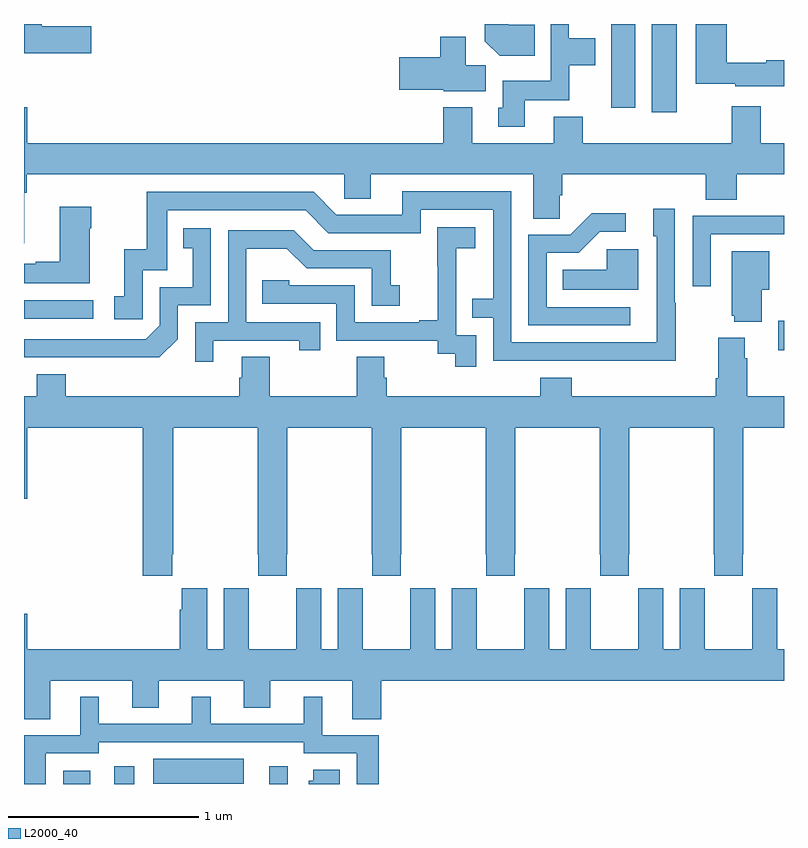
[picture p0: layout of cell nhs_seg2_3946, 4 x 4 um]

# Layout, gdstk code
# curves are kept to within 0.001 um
import gdstk
lib = gdstk.Library(unit=1e-6, precision=1e-09)
def R(c, l, rs):  # rectangles x0, y0, x1, y1
    for r in rs: c.add(gdstk.rectangle(r[:2], r[2:], *l))
def P(c, l, *ps):  # polygons
    for p in ps: c.add(gdstk.Polygon(p, *l))
L2000_40 = (2000, 40)

nhs_seg2_3946 = lib.new_cell('nhs_seg2_3946')
R(nhs_seg2_3946, L2000_40, [(321.206,605.8,321.349,605.869), (321.476,605.8,321.58,605.893), (322.292,605.8,322.389,605.893), (321.681,605.801,322.156,605.932), (324.971,608.082,325,608.238), (321,608.25,321.364,608.346), (324.305,609.336,324.436,609.8), (324.092,609.36,324.217,609.8)])
P(nhs_seg2_3946, L2000_40, [(323.635,609.398),(323.871,609.398),(323.871,609.584),(324.007,609.584),(324.007,609.724),(323.868,609.724),(323.868,609.8),(323.772,609.8),(323.772,609.502),(323.519,609.502),(323.519,609.36),(323.495,609.36),(323.495,609.258),(323.635,609.258)],
  [(321.355,609.788),(321.094,609.788),(321.094,609.8),(321,609.8),(321,609.646),(321.355,609.646)],
  [(323.687,609.796),(323.548,609.796),(323.548,609.8),(323.426,609.8),(323.426,609.71),(323.504,609.632),(323.687,609.632)],
  [(325,609.608),(324.906,609.608),(324.906,609.595),(324.698,609.595),(324.698,609.799),(324.536,609.799),(324.536,609.485),(324.744,609.485),(324.744,609.473),(325,609.473)],
  [(323.431,609.584),(323.326,609.584),(323.326,609.733),(323.192,609.733),(323.192,609.626),(322.974,609.626),(322.974,609.455),(323.208,609.455),(323.208,609.446),(323.431,609.446)],
  [(321.001,608.912),(321.014,608.912),(321.014,609.008),(322.686,609.008),(322.686,608.881),(322.825,608.881),(322.825,609.008),(323.681,609.008),(323.681,608.776),(323.82,608.776),(323.82,608.899),(323.834,608.899),(323.834,609.008),(324.587,609.008),(324.587,608.875),(324.752,608.875),(324.752,609.008),(325,609.008),(325,609.172),(324.878,609.172),(324.878,609.367),(324.725,609.367),(324.725,609.172),(323.942,609.172),(323.942,609.313),(323.789,609.313),(323.789,609.172),(323.359,609.172),(323.359,609.361),(323.207,609.361),(323.207,609.172),(321.016,609.172),(321.016,609.361),(321,609.361),(321,608.646),(321.001,608.646)],
  [(324.429,608.333),(324.426,608.333),(324.426,608.827),(324.311,608.827),(324.311,608.682),(324.33,608.682),(324.329,608.124),(323.565,608.124),(323.565,608.919),(322.991,608.919),(322.991,608.796),(322.644,608.796),(322.524,608.916),(321.645,608.916),(321.645,608.614),(321.527,608.614),(321.527,608.367),(321.474,608.367),(321.474,608.247),(321.624,608.247),(321.624,608.505),(321.753,608.505),(321.753,608.82),(322.482,608.82),(322.602,608.7),(323.088,608.7),(323.088,608.823),(323.469,608.823),(323.469,608.354),(323.359,608.354),(323.359,608.253),(323.469,608.253),(323.469,608.028),(324.429,608.027)],
  [(321.346,608.726),(321.354,608.726),(321.354,608.839),(321.188,608.839),(321.188,608.549),(321.062,608.549),(321.062,608.539),(321,608.539),(321,608.435),(321.346,608.435)],
  [(324.19,608.31),(323.751,608.31),(323.751,608.595),(323.92,608.595),(324.031,608.706),(324.166,608.706),(324.166,608.804),(323.987,608.804),(323.874,608.691),(323.655,608.691),(323.655,608.214),(324.19,608.214)],
  [(324.615,608.694),(325,608.694),(325,608.792),(324.835,608.792),(324.835,608.79),(324.519,608.79),(324.519,608.421),(324.615,608.421)],
  [(323.379,608.163),(323.274,608.163),(323.274,608.393),(323.276,608.393),(323.276,608.621),(323.374,608.621),(323.374,608.731),(323.176,608.731),(323.176,608.525),(323.177,608.525),(323.177,608.242),(323.081,608.242),(323.081,608.229),(322.74,608.229),(322.74,608.424),(322.395,608.424),(322.395,608.451),(322.255,608.451),(322.255,608.328),(322.644,608.328),(322.644,608.133),(323.178,608.133),(323.178,608.065),(323.271,608.065),(323.271,607.995),(323.379,607.995)],
  [(321.81,608.142),(321.81,608.319),(321.984,608.319),(321.984,608.725),(321.838,608.725),(321.838,608.619),(321.887,608.619),(321.887,608.415),(321.714,608.415),(321.714,608.214),(321.642,608.142),(321,608.142),(321,608.046),(321.712,608.045)],
  [(321.997,608.133),(322.448,608.133),(322.448,608.082),(322.559,608.082),(322.559,608.229),(322.17,608.229),(322.17,608.618),(322.384,608.618),(322.488,608.514),(322.83,608.514),(322.83,608.316),(322.978,608.316),(322.978,608.425),(322.929,608.425),(322.929,608.61),(322.525,608.61),(322.42,608.715),(322.074,608.715),(322.074,608.229),(321.9,608.229),(321.9,608.022),(321.997,608.022)],
  [(324.232,608.614),(324.067,608.614),(324.067,608.506),(323.836,608.506),(323.836,608.402),(324.232,608.402)],
  [(324.883,608.402),(324.922,608.402),(324.922,608.605),(324.725,608.605),(324.725,608.265),(324.737,608.265),(324.737,608.234),(324.883,608.234)],
  [(321.779,607.009),(321.786,607.009),(321.786,607.676),(322.231,607.676),(322.231,607.009),(322.233,607.009),(322.233,606.897),(322.383,606.897),(322.383,607.009),(322.386,607.009),(322.386,607.676),(322.831,607.676),(322.831,607.009),(322.833,607.009),(322.833,606.897),(322.983,606.897),(322.983,607.009),(322.986,607.009),(322.986,607.676),(323.431,607.676),(323.431,607.009),(323.433,607.009),(323.433,606.897),(323.583,606.897),(323.583,607.009),(323.586,607.009),(323.586,607.676),(324.031,607.676),(324.031,607.009),(324.033,607.009),(324.033,606.897),(324.183,606.897),(324.183,607.009),(324.186,607.009),(324.186,607.676),(324.631,607.676),(324.631,607.009),(324.633,607.009),(324.633,606.897),(324.783,606.897),(324.783,607.009),(324.786,607.009),(324.786,607.676),(325,607.676),(325,607.84),(324.806,607.84),(324.806,608.042),(324.793,608.042),(324.793,608.149),(324.653,608.149),(324.653,607.936),(324.641,607.936),(324.641,607.84),(323.882,607.84),(323.882,607.939),(323.717,607.939),(323.717,607.84),(322.91,607.84),(322.91,607.938),(322.897,607.938),(322.897,608.048),(322.75,608.048),(322.75,607.84),(322.293,607.84),(322.293,608.048),(322.145,608.048),(322.145,607.938),(322.133,607.938),(322.133,607.84),(321.221,607.84),(321.221,607.957),(321.068,607.957),(321.068,607.84),(321,607.84),(321,607.302),(321.016,607.302),(321.016,607.676),(321.626,607.676),(321.626,606.897),(321.779,606.897)],
  [(321.016,606.697),(321,606.697),(321,606.142),(321.139,606.142),(321.139,606.344),(321.569,606.344),(321.569,606.202),(321.709,606.202),(321.709,606.344),(322.157,606.344),(322.157,606.202),(322.297,606.202),(322.297,606.344),(322.727,606.344),(322.727,606.142),(322.88,606.142),(322.88,606.344),(325,606.344),(325,606.508),(324.964,606.508),(324.964,606.829),(324.834,606.829),(324.834,606.716),(324.833,606.716),(324.833,606.508),(324.583,606.508),(324.583,606.716),(324.582,606.716),(324.582,606.829),(324.452,606.829),(324.452,606.508),(324.364,606.508),(324.364,606.829),(324.234,606.829),(324.234,606.716),(324.233,606.716),(324.233,606.508),(323.983,606.508),(323.983,606.716),(323.982,606.716),(323.982,606.829),(323.852,606.829),(323.852,606.508),(323.764,606.508),(323.764,606.829),(323.634,606.829),(323.634,606.716),(323.633,606.716),(323.633,606.508),(323.383,606.508),(323.383,606.716),(323.382,606.716),(323.382,606.829),(323.252,606.829),(323.252,606.508),(323.164,606.508),(323.164,606.829),(323.034,606.829),(323.034,606.716),(323.033,606.716),(323.033,606.508),(322.783,606.508),(322.783,606.716),(322.782,606.716),(322.782,606.829),(322.652,606.829),(322.652,606.508),(322.564,606.508),(322.564,606.829),(322.434,606.829),(322.434,606.716),(322.433,606.716),(322.433,606.508),(322.183,606.508),(322.183,606.716),(322.182,606.716),(322.182,606.829),(322.052,606.829),(322.052,606.508),(321.964,606.508),(321.964,606.829),(321.83,606.829),(321.83,606.716),(321.821,606.716),(321.821,606.508),(321.016,606.508)],
  [(321.114,605.961),(321.393,605.961),(321.393,606.021),(322.473,606.021),(322.473,605.961),(322.752,605.961),(322.752,605.8),(322.868,605.8),(322.868,606.057),(322.57,606.057),(322.57,606.259),(322.472,606.259),(322.472,606.117),(321.982,606.117),(321.982,606.259),(321.884,606.259),(321.884,606.117),(321.394,606.117),(321.394,606.259),(321.296,606.259),(321.296,606.057),(321,606.057),(321,605.8),(321.114,605.8)],
  [(322.663,605.875),(322.523,605.875),(322.523,605.817),(322.499,605.817),(322.499,605.8),(322.663,605.8)])

lib.write_gds('nhs_seg2_3946.gds')
